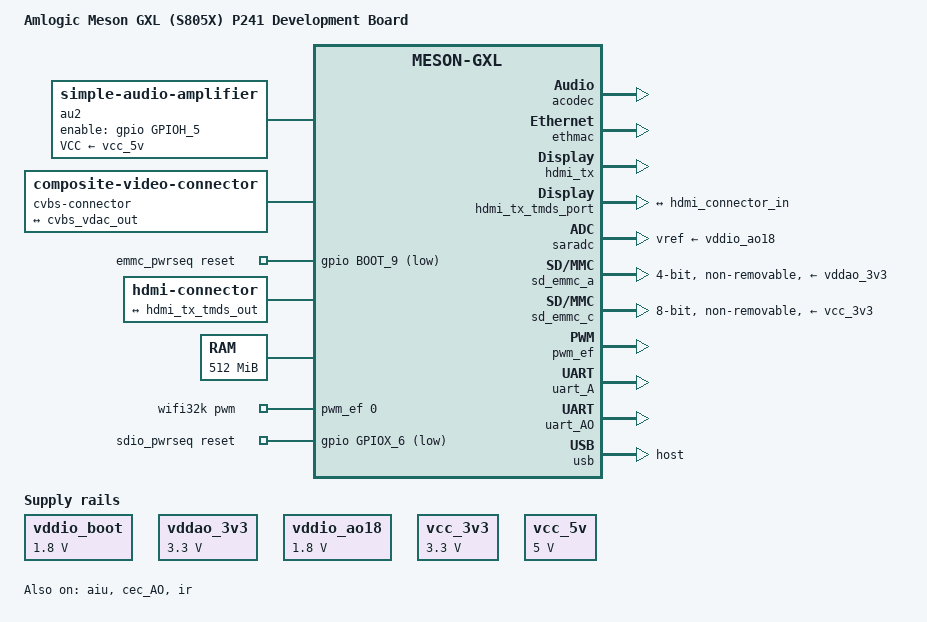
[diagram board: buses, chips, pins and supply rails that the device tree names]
// SPDX-License-Identifier: (GPL-2.0+ OR MIT)
/*
 * Copyright (c) 2018 BayLibre, SAS.
 * Author: Neil Armstrong <narmstrong@baylibre.com>
 * Author: Jerome Brunet <jbrunet@baylibre.com>
 */

/dts-v1/;

#include <dt-bindings/input/input.h>
#include <dt-bindings/sound/meson-aiu.h>

#include "meson-gxl-s805x.dtsi"

/ {
	compatible = "amlogic,p241", "amlogic,s805x", "amlogic,meson-gxl";
	model = "Amlogic Meson GXL (S805X) P241 Development Board";

	aliases {
		serial0 = &uart_AO;
		serial1 = &uart_A;
		ethernet0 = &ethmac;
	};

	au2: analog-amplifier {
		compatible = "simple-audio-amplifier";
		sound-name-prefix = "AU2";
		VCC-supply = <&vcc_5v>;
		enable-gpios = <&gpio GPIOH_5 GPIO_ACTIVE_HIGH>;
	};

	chosen {
		stdout-path = "serial0:115200n8";
	};

	cvbs-connector {
		compatible = "composite-video-connector";

		port {
			cvbs_connector_in: endpoint {
				remote-endpoint = <&cvbs_vdac_out>;
			};
		};
	};

	emmc_pwrseq: emmc-pwrseq {
		compatible = "mmc-pwrseq-emmc";
		reset-gpios = <&gpio BOOT_9 GPIO_ACTIVE_LOW>;
	};

	hdmi-connector {
		compatible = "hdmi-connector";
		type = "a";

		port {
			hdmi_connector_in: endpoint {
				remote-endpoint = <&hdmi_tx_tmds_out>;
			};
		};
	};

	memory@0 {
		device_type = "memory";
		reg = <0x0 0x0 0x0 0x20000000>;
	};

	vddio_boot: regulator-vddio-boot {
		compatible = "regulator-fixed";
		regulator-name = "VDDIO_BOOT";
		regulator-min-microvolt = <1800000>;
		regulator-max-microvolt = <1800000>;
	};

	vddao_3v3: regulator-vddao-3v3 {
		compatible = "regulator-fixed";
		regulator-name = "VDDAO_3V3";
		regulator-min-microvolt = <3300000>;
		regulator-max-microvolt = <3300000>;
	};

	vddio_ao18: regulator-vddio-ao18 {
		compatible = "regulator-fixed";
		regulator-name = "VDDIO_AO18";
		regulator-min-microvolt = <1800000>;
		regulator-max-microvolt = <1800000>;
	};

	vcc_3v3: regulator-vcc-3v3 {
		compatible = "regulator-fixed";
		regulator-name = "VCC_3V3";
		regulator-min-microvolt = <3300000>;
		regulator-max-microvolt = <3300000>;
	};

	vcc_5v: regulator-vcc-5v {
		compatible = "regulator-fixed";
		regulator-name = "VCC_5V";
		regulator-min-microvolt = <5000000>;
		regulator-max-microvolt = <5000000>;
	};


	emmc_pwrseq: emmc-pwrseq {
		compatible = "mmc-pwrseq-emmc";
		reset-gpios = <&gpio BOOT_9 GPIO_ACTIVE_LOW>;
	};

	wifi32k: wifi32k {
		compatible = "pwm-clock";
		#clock-cells = <0>;
		clock-frequency = <32768>;
		pwms = <&pwm_ef 0 30518 0>; /* PWM_E at 32.768KHz */
	};

	sdio_pwrseq: sdio-pwrseq {
		compatible = "mmc-pwrseq-simple";
		reset-gpios = <&gpio GPIOX_6 GPIO_ACTIVE_LOW>;
		clocks = <&wifi32k>;
		clock-names = "ext_clock";
	};

	sound {
		compatible = "amlogic,gx-sound-card";
		model = "GXL-P241";
		audio-aux-devs = <&au2>;
		audio-widgets = "Line", "Lineout";
		audio-routing = "AU2 INL", "ACODEC LOLN",
				"AU2 INR", "ACODEC LORN",
				"Lineout", "AU2 OUTL",
				"Lineout", "AU2 OUTR";
		assigned-clocks = <&clkc CLKID_MPLL0>,
				  <&clkc CLKID_MPLL1>,
				  <&clkc CLKID_MPLL2>;
		assigned-clock-parents = <0>, <0>, <0>;
		assigned-clock-rates = <294912000>,
				       <270950400>,
				       <393216000>;

		dai-link-0 {
			sound-dai = <&aiu AIU_CPU CPU_I2S_FIFO>;
		};

		dai-link-1 {
			sound-dai = <&aiu AIU_CPU CPU_I2S_ENCODER>;
			dai-format = "i2s";
			mclk-fs = <256>;

			codec-0 {
				sound-dai = <&aiu AIU_HDMI CTRL_I2S>;
			};

			codec-1 {
				sound-dai = <&aiu AIU_ACODEC CTRL_I2S>;
			};
		};

		dai-link-2 {
			sound-dai = <&aiu AIU_HDMI CTRL_OUT>;

			codec-0 {
				sound-dai = <&hdmi_tx>;
			};
		};

		dai-link-3 {
			sound-dai = <&aiu AIU_ACODEC CTRL_OUT>;

			codec-0 {
				sound-dai = <&acodec>;
			};
		};
	};
};

&acodec {
	AVDD-supply = <&vddio_ao18>;
	status = "okay";
};

&aiu {
	status = "okay";
};

&cec_AO {
	status = "okay";
	pinctrl-0 = <&ao_cec_pins>;
	pinctrl-names = "default";
	hdmi-phandle = <&hdmi_tx>;
};

&cvbs_vdac_port {
	cvbs_vdac_out: endpoint {
		remote-endpoint = <&cvbs_connector_in>;
	};
};

&ethmac {
	status = "okay";
};

&internal_phy {
	pinctrl-0 = <&eth_link_led_pins>, <&eth_act_led_pins>;
	pinctrl-names = "default";
};

&ir {
	status = "okay";
	pinctrl-0 = <&remote_input_ao_pins>;
	pinctrl-names = "default";
};

&hdmi_tx {
	status = "okay";
	pinctrl-0 = <&hdmi_hpd_pins>, <&hdmi_i2c_pins>;
	pinctrl-names = "default";
	hdmi-supply = <&vcc_5v>;
};

&hdmi_tx_tmds_port {
	hdmi_tx_tmds_out: endpoint {
		remote-endpoint = <&hdmi_connector_in>;
	};
};

&saradc {
	status = "okay";
	vref-supply = <&vddio_ao18>;
};

/* Wireless SDIO Module */
&sd_emmc_a {
	status = "okay";
	pinctrl-0 = <&sdio_pins>;
	pinctrl-1 = <&sdio_clk_gate_pins>;
	pinctrl-names = "default", "clk-gate";
	#address-cells = <1>;
	#size-cells = <0>;

	bus-width = <4>;
	cap-sd-highspeed;
	max-frequency = <50000000>;

	non-removable;
	disable-wp;

	/* WiFi firmware requires power to be kept while in suspend */
	keep-power-in-suspend;

	mmc-pwrseq = <&sdio_pwrseq>;

	vmmc-supply = <&vddao_3v3>;
	vqmmc-supply = <&vddio_boot>;
};

/* eMMC */
&sd_emmc_c {
	status = "okay";
	pinctrl-0 = <&emmc_pins>, <&emmc_ds_pins>;
	pinctrl-1 = <&emmc_clk_gate_pins>;
	pinctrl-names = "default", "clk-gate";

	bus-width = <8>;
	cap-mmc-highspeed;
	max-frequency = <200000000>;
	non-removable;
	disable-wp;
	mmc-ddr-1_8v;
	mmc-hs200-1_8v;

	mmc-pwrseq = <&emmc_pwrseq>;
	vmmc-supply = <&vcc_3v3>;
	vqmmc-supply = <&vddio_boot>;
};

&pwm_ef {
	status = "okay";
	pinctrl-0 = <&pwm_e_pins>;
	pinctrl-names = "default";
	clocks = <&clkc CLKID_FCLK_DIV4>;
	clock-names = "clkin0";
};

/* This is connected to the Bluetooth module: */
&uart_A {
	status = "okay";
	pinctrl-0 = <&uart_a_pins>, <&uart_a_cts_rts_pins>;
	pinctrl-names = "default";
	uart-has-rtscts;
};

&uart_AO {
	status = "okay";
	pinctrl-0 = <&uart_ao_a_pins>;
	pinctrl-names = "default";
};

&usb {
	status = "okay";
	dr_mode = "host";
};

&usb2_phy0 {
	phy-supply = <&vcc_5v>;
};
